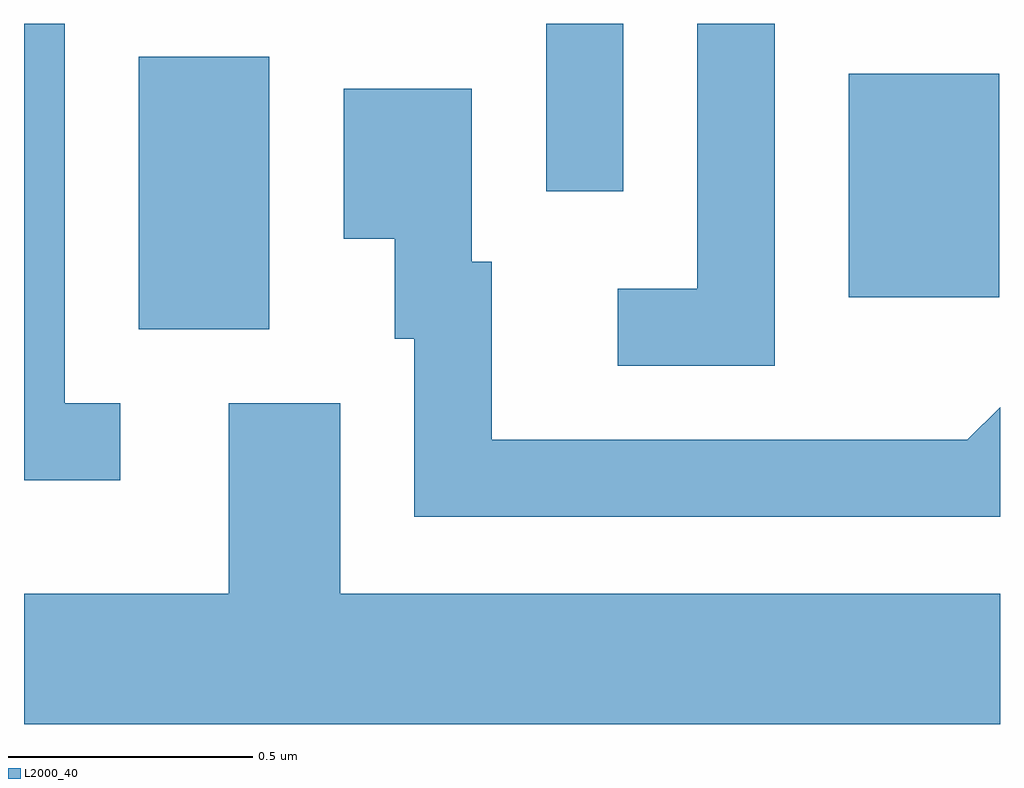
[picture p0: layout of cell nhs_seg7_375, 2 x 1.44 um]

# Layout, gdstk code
import gdstk
lib = gdstk.Library(unit=1e-6, precision=1e-09)
def R(c, l, rs):  # rectangles x0, y0, x1, y1
    for r in rs: c.add(gdstk.rectangle(r[:2], r[2:], *l))
def P(c, l, *ps):  # polygons
    for p in ps: c.add(gdstk.Polygon(p, *l))
L2000_40 = (2000, 40)

nhs_seg7_375 = lib.new_cell('nhs_seg7_375')
R(nhs_seg7_375, L2000_40, [(187.846,1770.626,188.114,1771.184), (189.301,1770.691,189.609,1771.149), (188.681,1770.908,188.839,1771.252)])
P(nhs_seg7_375, L2000_40, [(189.149,1771.252),(188.991,1771.252),(188.991,1770.709),(188.828,1770.709),(188.828,1770.551),(189.149,1770.551)],
  [(187.808,1770.474),(187.694,1770.474),(187.694,1771.252),(187.611,1771.252),(187.611,1770.316),(187.808,1770.316)],
  [(189.611,1770.466),(189.544,1770.399),(188.569,1770.399),(188.569,1770.764),(188.529,1770.764),(188.529,1771.119),(188.266,1771.119),(188.266,1770.811),(188.371,1770.811),(188.371,1770.606),(188.411,1770.606),(188.411,1770.241),(189.611,1770.241)],
  [(189.611,1770.084),(188.259,1770.084),(188.259,1770.474),(188.031,1770.474),(188.031,1770.084),(187.611,1770.084),(187.611,1769.816),(189.611,1769.816)])

lib.write_gds('nhs_seg7_375.gds')
